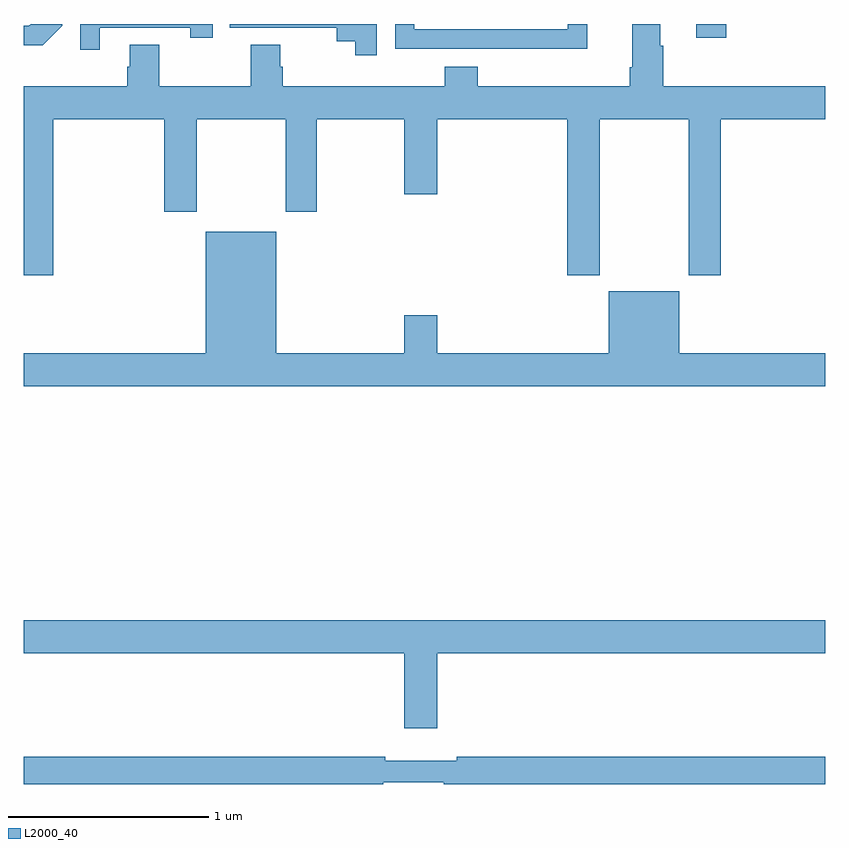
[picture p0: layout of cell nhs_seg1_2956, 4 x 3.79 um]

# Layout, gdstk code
import gdstk
lib = gdstk.Library(unit=1e-6, precision=1e-09)
def R(c, l, rs):  # rectangles x0, y0, x1, y1
    for r in rs: c.add(gdstk.rectangle(r[:2], r[2:], *l))
def P(c, l, *ps):  # polygons
    for p in ps: c.add(gdstk.Polygon(p, *l))
L2000_40 = (2000, 40)

nhs_seg1_2956 = lib.new_cell('nhs_seg1_2956')
R(nhs_seg1_2956, L2000_40, [(274.355,560.13,274.504,560.199)])
P(nhs_seg1_2956, L2000_40, [(273.813,560.199),(273.714,560.199),(273.714,560.172),(272.949,560.172),(272.949,560.199),(272.853,560.199),(272.853,560.076),(273.349,560.076),(273.349,560.075),(273.813,560.075)],
  [(271.194,560.19),(271.194,560.199),(271.035,560.199),(271.026,560.19),(271,560.19),(271,560.093),(271.096,560.093)],
  [(272.763,560.199),(272.028,560.199),(272.028,560.181),(272.562,560.181),(272.562,560.113),(272.655,560.113),(272.655,560.043),(272.763,560.043)],
  [(271.381,560.181),(271.832,560.181),(271.832,560.13),(271.943,560.13),(271.943,560.199),(271.284,560.199),(271.284,560.07),(271.381,560.07)],
  [(271.148,559.724),(271.703,559.724),(271.703,559.263),(271.863,559.263),(271.863,559.724),(272.308,559.724),(272.308,559.263),(272.463,559.263),(272.463,559.724),(272.9,559.724),(272.9,559.35),(273.064,559.35),(273.064,559.724),(273.713,559.724),(273.713,558.945),(273.873,558.945),(273.873,559.724),(274.318,559.724),(274.318,558.945),(274.478,558.945),(274.478,559.724),(275,559.724),(275,559.888),(274.19,559.888),(274.19,560.09),(274.177,560.09),(274.177,560.197),(274.037,560.197),(274.037,559.984),(274.025,559.984),(274.025,559.888),(273.266,559.888),(273.266,559.987),(273.101,559.987),(273.101,559.888),(272.294,559.888),(272.294,559.986),(272.281,559.986),(272.281,560.096),(272.134,560.096),(272.134,559.888),(271.677,559.888),(271.677,560.096),(271.529,560.096),(271.529,559.986),(271.517,559.986),(271.517,559.888),(271,559.888),(271,558.945),(271.148,558.945)],
  [(275,558.556),(274.27,558.556),(274.27,558.865),(273.92,558.865),(273.92,558.556),(273.064,558.556),(273.064,558.745),(272.9,558.745),(272.9,558.556),(272.26,558.556),(272.26,559.162),(271.91,559.162),(271.91,558.556),(271,558.556),(271,558.392),(275,558.392)],
  [(273.064,557.06),(275,557.06),(275,557.224),(271,557.224),(271,557.06),(272.9,557.06),(272.9,556.686),(273.064,556.686)],
  [(272.795,556.416),(273.095,556.416),(273.095,556.408),(275,556.408),(275,556.544),(273.16,556.544),(273.16,556.525),(272.804,556.525),(272.804,556.544),(271,556.544),(271,556.408),(272.795,556.408)])

lib.write_gds('nhs_seg1_2956.gds')
